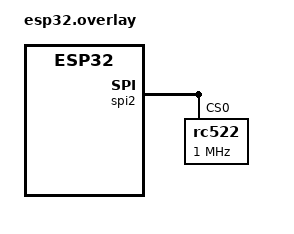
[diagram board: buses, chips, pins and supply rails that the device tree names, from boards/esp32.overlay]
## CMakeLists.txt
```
zephyr_syscall_header(${ZEPHYR_LIBOSTENTUS_MODULE_DIR}/include/rfid.h)

zephyr_library()
zephyr_include_directories(include)
zephyr_library_sources(rc522.c)
```

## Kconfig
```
menuconfig RFID
  bool "Radio Frequency stuff"
  default y
  depends on DT_HAS_NXP_RC522_ENABLED
  select SPI
  help
    Enable rfid chip so you can scan your cards

if RFID

config RC522_INIT_PRIORITY
  int "RC522 init priority"
  default 90
  help
    mfrc522 init priority.


config RC522_LOG_LEVEL
    int "Default log level for mfrc522"
    default 4
    help
        The default log level, which is used to filter log messages.
        0: None
        1: Error
        2: Warn
        3: Info
        4: Debug
        5: Verbose


endif # RFID
```

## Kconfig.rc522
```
config RC522
	bool "Enable RC522 Driver"
	default y
	select SPI
	help
		Enables the RC522 driver.
```

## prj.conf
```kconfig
CONFIG_RC522=y
```

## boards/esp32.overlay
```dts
&spi2 {
	rc522: rc522@0 {
		compatible = "rc522";
		reg = <0>;
		spi-max-frequency = <1000000>;
	};
};
```

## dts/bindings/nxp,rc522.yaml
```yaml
description: "NXP Semiconductors  MIFARE and NTAG frontend"

compatible: "nxp,rc522"

include: [spi-device.yaml]
```

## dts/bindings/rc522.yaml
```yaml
description: RFID-RC522 Device

compatible: "rc522"

include: spi-device.yaml
```

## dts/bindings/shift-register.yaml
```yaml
# Copyright (c) 2020 Nordic Semiconductor ASA
# SPDX-License-Identifier: Apache-2.0

description: Shift Register Device

compatible: "shift-register"

include: spi-device.yaml
```

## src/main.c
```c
#include <zephyr/kernel.h>
#include "drivers/rc522.h"
#include "fob.h"

static const struct spi_dt_spec rc522 = RC522_SPI_DT_SPEC_GET(DT_NODELABEL(rc522));

int main() {
	int ret;

	rc522_init(&rc522);

	while (1) {
		const uint8_t sector = 1;
		const uint8_t key[6] = {0xFF, 0xFF, 0xFF, 0xFF, 0xFF, 0xFF};
		const uint8_t new_key[6] = {0x00};
		uint8_t UID[5] = {0};

		while (1) {
			ret = rc522_reqa(&rc522);
			if (ret != STATUS_OK) {
				k_msleep(250);
				continue;
			}

			ret = fob_select(&rc522, UID);
			if (ret != STATUS_OK) {
				continue;
			}

			break;
		}

		fob_auth(&rc522, UID, sector, key);
		fob_write_key(&rc522, UID, sector, new_key);

		fob_auth(&rc522, UID, sector, new_key);
		fob_write_key(&rc522, UID, sector, key);


		const uint8_t passcode[6] = {0xAB};
		uint8_t passcode_read[6] = {0};

		fob_auth(&rc522, UID, sector, key);

		fob_read_passcode(&rc522, UID, sector, passcode_read);
		printf("0x%02X\n", passcode_read[0]);

		fob_write_passcode(&rc522, UID, sector, passcode);

		fob_read_passcode(&rc522, UID, sector, passcode_read);
		printf("0x%02X\n", passcode_read[0]);

		passcode_read[0] = 0x00;
		fob_write_passcode(&rc522, UID, sector, passcode_read);


		rc522_mifare_deauth(&rc522);

		k_msleep(1500);
	}

	return 0;
}
```

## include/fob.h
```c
#pragma once

#include "drivers/rc522.h"

int fob_select(const struct spi_dt_spec *rc522, uint8_t *UID);
int fob_auth(const struct spi_dt_spec *rc522, const uint8_t *UID, const uint8_t sector, const uint8_t *key);

/* Writes the new key to the designated sector. */
int fob_write_key(const struct spi_dt_spec *rc522, const uint8_t *UID, const uint8_t sector, const uint8_t *key);

/* Writes the passcode to the designated sector. */
int fob_write_passcode(const struct spi_dt_spec *rc522, const uint8_t *UID, const uint8_t sector, const uint8_t *passcode);

/* Reads the passcode from the designated sector into the passcode array. */
int fob_read_passcode(const struct spi_dt_spec *rc522, const uint8_t *UID, const uint8_t sector, uint8_t *passcode);
```

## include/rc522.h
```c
#ifndef __RC522_H_
#define __RC522_H_

#include <asm-generic/errno.h>
#include <stdint.h>
#include <zephyr/device.h>
#include <zephyr/drivers/spi.h>

struct rc522_config {
  struct spi_dt_spec spi;
};

typedef int (*rc522_cmd_t)(const struct device *dev);
typedef int (*rc522_read_t)(const struct device *dev, uint8_t *read_value);

__subsystem struct rc522_driver_api {
  rc522_read_t rc522_read_version;
  rc522_cmd_t rc522_test;
};

__syscall int rc522_read_version(const struct device *dev, uint8_t *read_value);

static inline int z_impl_rc522_read_version(const struct device *dev,
                                            uint8_t *read_value) {
  const struct rc522_driver_api *api =
      (const struct rc522_driver_api *)dev->api;
  if (api->rc522_read_version == NULL) {
    return -ENOSYS;
  }
  return api->rc522_read_version(dev, read_value);
}

__syscall int rc522_test(const struct device *dev);

static inline int z_imple_rc522_test(const struct device *dev) {
  const struct rc522_driver_api *api =
      (const struct rc522_driver_api *)dev->api;
  if (api->rc522_test == NULL) {
    return -ENOSYS;
  }
  return api->rc522_read_version(dev);
}

#include <syscalls/rc522.h>

#endif // !__RC522_H_
```

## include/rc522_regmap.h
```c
#pragma once

#include <zephyr/kernel.h>
#include <zephyr/drivers/spi.h>

#define RC522_SPI_DT_SPEC_GET(node_label) \
	SPI_DT_SPEC_GET( \
		node_label, \
		SPI_OP_MODE_MASTER | SPI_TRANSFER_MSB | SPI_WORD_SET(8) | SPI_LINES_SINGLE, \
		0 \
	)

// MFRC522 registers. Described in chapter 9 of the datasheet.
// When using SPI all addresses are shifted one bit left in the "SPI address byte" (section 8.1.2.3)
enum Register {
	// Page 0: Command and status
	//						  0x00			// reserved for future use
	CommandReg				= 0x01 << 1,	// starts and stops command execution
	ComIEnReg				= 0x02 << 1,	// enable and disable interrupt request control bits
	DivIEnReg				= 0x03 << 1,	// enable and disable interrupt request control bits
	ComIrqReg				= 0x04 << 1,	// interrupt request bits
	DivIrqReg				= 0x05 << 1,	// interrupt request bits
	ErrorReg				= 0x06 << 1,	// error bits showing the error status of the last command executed 
	Status1Reg				= 0x07 << 1,	// communication status bits
	Status2Reg				= 0x08 << 1,	// receiver and transmitter status bits
	FIFODataReg				= 0x09 << 1,	// input and output of 64 byte FIFO buffer
	FIFOLevelReg			= 0x0A << 1,	// number of bytes stored in the FIFO buffer
	WaterLevelReg			= 0x0B << 1,	// level for FIFO underflow and overflow warning
	ControlReg				= 0x0C << 1,	// miscellaneous control registers
	BitFramingReg			= 0x0D << 1,	// adjustments for bit-oriented frames
	CollReg					= 0x0E << 1,	// bit position of the first bit-collision detected on the RF interface
	//						  0x0F			// reserved for future use
	
	// Page 1: Command
	// 						  0x10			// reserved for future use
	ModeReg					= 0x11 << 1,	// defines general modes for transmitting and receiving 
	TxModeReg				= 0x12 << 1,	// defines transmission data rate and framing
	RxModeReg				= 0x13 << 1,	// defines reception data rate and framing
	TxControlReg			= 0x14 << 1,	// controls the logical behavior of the antenna driver pins TX1 and TX2
	TxASKReg				= 0x15 << 1,	// controls the setting of the transmission modulation
	TxSelReg				= 0x16 << 1,	// selects the internal sources for the antenna driver
	RxSelReg				= 0x17 << 1,	// selects internal receiver settings
	RxThresholdReg			= 0x18 << 1,	// selects thresholds for the bit decoder
	DemodReg				= 0x19 << 1,	// defines demodulator settings
	// 						  0x1A			// reserved for future use
	// 						  0x1B			// reserved for future use
	MfTxReg					= 0x1C << 1,	// controls some MIFARE communication transmit parameters
	MfRxReg					= 0x1D << 1,	// controls some MIFARE communication receive parameters
	// 						  0x1E			// reserved for future use
	SerialSpeedReg			= 0x1F << 1,	// selects the speed of the serial UART interface
	
	// Page 2: Configuration
	// 						  0x20			// reserved for future use
	CRCResultRegH			= 0x21 << 1,	// shows the MSB and LSB values of the CRC calculation
	CRCResultRegL			= 0x22 << 1,
	// 						  0x23			// reserved for future use
	ModWidthReg				= 0x24 << 1,	// controls the ModWidth setting?
	// 						  0x25			// reserved for future use
	RFCfgReg				= 0x26 << 1,	// configures the receiver gain
	GsNReg					= 0x27 << 1,	// selects the conductance of the antenna driver pins TX1 and TX2 for modulation 
	CWGsPReg				= 0x28 << 1,	// defines the conductance of the p-driver output during periods of no modulation
	ModGsPReg				= 0x29 << 1,	// defines the conductance of the p-driver output during periods of modulation
	TModeReg				= 0x2A << 1,	// defines settings for the internal timer
	TPrescalerReg			= 0x2B << 1,	// the lower 8 bits of the TPrescaler value. The 4 high bits are in TModeReg.
	TReloadRegH				= 0x2C << 1,	// defines the 16-bit timer reload value
	TReloadRegL				= 0x2D << 1,
	TCounterValueRegH		= 0x2E << 1,	// shows the 16-bit timer value
	TCounterValueRegL		= 0x2F << 1,
	
	// Page 3: Test Registers
	// 						  0x30			// reserved for future use
	TestSel1Reg				= 0x31 << 1,	// general test signal configuration
	TestSel2Reg				= 0x32 << 1,	// general test signal configuration
	TestPinEnReg			= 0x33 << 1,	// enables pin output driver on pins D1 to D7
	TestPinValueReg			= 0x34 << 1,	// defines the values for D1 to D7 when it is used as an I/O bus
	TestBusReg				= 0x35 << 1,	// shows the status of the internal test bus
	AutoTestReg				= 0x36 << 1,	// controls the digital self-test
	VersionReg				= 0x37 << 1,	// shows the software version
	AnalogTestReg			= 0x38 << 1,	// controls the pins AUX1 and AUX2
	TestDAC1Reg				= 0x39 << 1,	// defines the test value for TestDAC1
	TestDAC2Reg				= 0x3A << 1,	// defines the test value for TestDAC2
	TestADCReg				= 0x3B << 1		// shows the value of ADC I and Q channels
	// 						  0x3C			// reserved for production tests
	// 						  0x3D			// reserved for production tests
	// 						  0x3E			// reserved for production tests
	// 						  0x3F			// reserved for production tests
};
	
// MFRC522 commands. Described in chapter 10 of the datasheet.
enum PCD_Command {
	PCD_Idle				= 0x00,		// no action, cancels current command execution
	PCD_Mem					= 0x01,		// stores 25 bytes into the internal buffer
	PCD_GenerateRandomID	= 0x02,		// generates a 10-byte random ID number
	PCD_CalcCRC				= 0x03,		// activates the CRC coprocessor or performs a self-test
	PCD_Transmit			= 0x04,		// transmits data from the FIFO buffer
	PCD_NoCmdChange			= 0x07,		// no command change, can be used to modify the CommandReg register bits without affecting the command, for example, the PowerDown bit
	PCD_Receive				= 0x08,		// activates the receiver circuits
	PCD_Transceive 			= 0x0C,		// transmits data from FIFO buffer to antenna and automatically activates the receiver after transmission
	PCD_MFAuthent 			= 0x0E,		// performs the MIFARE standard authentication as a reader
	PCD_SoftReset			= 0x0F		// resets the MFRC522
};

// Commands sent to the PICC.
enum PICC_Command {
	// The commands used by the PCD to manage communication with several PICCs (ISO 14443-3, Type A, section 6.4)
	PICC_CMD_REQA			= 0x26,		// REQuest command, Type A. Invites PICCs in state IDLE to go to READY and prepare for anticollision or selection. 7 bit frame.
	PICC_CMD_WUPA			= 0x52,		// Wake-UP command, Type A. Invites PICCs in state IDLE and HALT to go to READY(*) and prepare for anticollision or selection. 7 bit frame.
	PICC_CMD_CT				= 0x88,		// Cascade Tag. Not really a command, but used during anti collision.
	PICC_CMD_SEL_CL1		= 0x93,		// Anti collision/Select, Cascade Level 1
	PICC_CMD_SEL_CL2		= 0x95,		// Anti collision/Select, Cascade Level 2
	PICC_CMD_SEL_CL3		= 0x97,		// Anti collision/Select, Cascade Level 3
	PICC_CMD_HLTA			= 0x50,		// HaLT command, Type A. Instructs an ACTIVE PICC to go to state HALT.
	PICC_CMD_RATS           = 0xE0,     // Request command for Answer To Reset.
	// The commands used for MIFARE Classic (from http://www.mouser.com/ds/2/302/MF1S503x-89574.pdf, Section 9)
	// Use PCD_MFAuthent to authenticate access to a sector, then use these commands to read/write/modify the blocks on the sector.
	// The read/write commands can also be used for MIFARE Ultralight.
	PICC_CMD_MF_AUTH_KEY_A	= 0x60,		// Perform authentication with Key A
	PICC_CMD_MF_AUTH_KEY_B	= 0x61,		// Perform authentication with Key B
	PICC_CMD_MF_READ		= 0x30,		// Reads one 16 byte block from the authenticated sector of the PICC. Also used for MIFARE Ultralight.
	PICC_CMD_MF_WRITE		= 0xA0,		// Writes one 16 byte block to the authenticated sector of the PICC. Called "COMPATIBILITY WRITE" for MIFARE Ultralight.
	PICC_CMD_MF_DECREMENT	= 0xC0,		// Decrements the contents of a block and stores the result in the internal data register.
	PICC_CMD_MF_INCREMENT	= 0xC1,		// Increments the contents of a block and stores the result in the internal data register.
	PICC_CMD_MF_RESTORE		= 0xC2,		// Reads the contents of a block into the internal data register.
	PICC_CMD_MF_TRANSFER	= 0xB0,		// Writes the contents of the internal data register to a block.
	// The commands used for MIFARE Ultralight (from http://www.nxp.com/documents/data_sheet/MF0ICU1.pdf, Section 8.6)
	// The PICC_CMD_MF_READ and PICC_CMD_MF_WRITE can also be used for MIFARE Ultralight.
	PICC_CMD_UL_WRITE		= 0xA2		// Writes one 4 byte page to the PICC.
};

// Return codes from the functions in this class. Remember to update GetStatusCodeName() if you add more.
// last value set to 0xff, then compiler uses less ram, it seems some optimisations are triggered
enum Status_Code {
	STATUS_OK				,	// Success
	STATUS_ERROR			,	// Error in communication
	STATUS_COLLISION		,	// Collission detected
	STATUS_TIMEOUT			,	// Timeout in communication.
	STATUS_NO_ROOM			,	// A buffer is not big enough.
	STATUS_INTERNAL_ERROR	,	// Internal error in the code. Should not happen ;-)
	STATUS_INVALID			,	// Invalid argument.
	STATUS_CRC_WRONG		,	// The CRC_A does not match
	STATUS_MIFARE_NACK		= 0xff	// A MIFARE PICC responded with NAK.
};

// MIFARE constants that does not fit anywhere else
enum MIFARE_Misc {
	MF_ACK					= 0xA,		// The MIFARE Classic uses a 4 bit ACK/NAK. Any other value than 0xA is NAK.
	MF_KEY_SIZE				= 6			// A Mifare Crypto1 key is 6 bytes.
};

struct communicate_argument {
	uint8_t command; // Required.
	uint8_t wait_irq; // Required.
	uint8_t *transmit_data; // Required.
	uint8_t transmit_len; // Required.
	uint8_t *receive_data; // Default NULL.
	uint8_t receive_len; // Default 0.
	uint8_t valid_bits; // Default 0.
	uint8_t rx_align; // Default 0.
	int check_CRC; // Default false (0).
};

/* Runs standard test procedure to confirm working SPI communication with RC522
 * and ability to run commands, run CRC coprocessor, etc. Prints 64 bytes of
 * standard test data which can be cross referenced. Does not use antenna. */
int rc522_test(const struct spi_dt_spec *rc522);

// /* Ensures default settings for CRC, timer, baud rate, etc. Turns on antenna. */
// int rc522_init(const struct spi_dt_spec *rc522);

/* Sends a REQA to all nearby tags. */
int rc522_reqa(const struct spi_dt_spec *rc522);

/* Sends a Select to all nearby tags. Does NOT implement anticollision and just
 * stores the 5 byte response in UID when UID_valid is false. When UID_valid is
 * true, selects the tag with the matching UID and stores the 1 byte response
 * in sak if it is not NULL. */
int rc522_select(const struct spi_dt_spec *rc522, uint8_t *UID, const uint8_t UID_valid, uint8_t *sak);

/* Sends a MIFARE authentication command to the selected tag with the
 * corresponding UID. If the key matches the key for the sector that block_addr
 * falls under, this function will grant access to that sector. */
int rc522_mifare_auth(const struct spi_dt_spec *rc522, const uint8_t block_addr, const uint8_t *key, const uint8_t *UID);

/* Does NOT send any commands to any tag. Instead, this function disables
 * encryption so that non-MIFARE functions can once again be used. */
int rc522_mifare_deauth(const struct spi_dt_spec *rc522);

/* Assuming authentication has been granted, this function will read the 16
 * data bytes and 2 CRC bytes of the block located at block_addr into the
 * read_values array; length >= 18 required. The length variable will be
 * updated with the length of the actual response if it is shorter for some
 * reason. */
int rc522_mifare_read(const struct spi_dt_spec *rc522, const uint8_t block_addr, uint8_t *length, uint8_t *read_values);

/* Assuming authentication has been granted, this function will write the 16
 * data bytes from the data array into the block located at block_addr. The
 * length variable MUST be 16. */
int rc522_mifare_write(	const struct spi_dt_spec *rc522, const uint8_t block_addr, const uint8_t length, const uint8_t *data);
```

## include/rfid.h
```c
#ifndef __ZEPHYR_INCLUDE_DRIVERS__RFDI_H__
#define __ZEPHYR_INCLUDE_DRIVERS__RFDI_H__

#include <errno.h>

#include <zephyr/device.h>
#include <zephyr/types.h>

#ifdef __cplusplus
extern "C" {
#endif

typedef int (*rfid_cmd_t)(const struct device *dev);
typedef int (*rfid_fob_select_t)(const struct device *dev, uint8_t *uid,
                                 const uint8_t UID_valid, uint8_t *sak);
typedef int (*rfid_fob_auth_t)(const struct device *dev,
                               const uint8_t block_addr, const uint8_t *key,
                               const uint8_t *UID);
typedef int (*rfid_fob_read_t)(const struct device *dev,
                               const uint8_t block_addr, uint8_t *length,
                               uint8_t *read_values);
typedef int (*rfid_fob_write_t)(const struct device *dev,
                                const uint8_t block_addr, const uint8_t length,
                                const uint8_t *data);

__subsystem struct rfid_driver_api {
  rfid_cmd_t hw_test;
  rfid_cmd_t fob_reqa;
  rfid_fob_select_t fob_select;
  //rfid_fob_auth_t fob_auth;
  // rfid_cmd_t deauth;
  // rfid_fob_read_t fob_read;
  // rfid_fob_write_t fob_write;
};

/* Runs standard test procedure to confirm working SPI communication with RC522
 * and ability to run commands, run CRC coprocessor, etc. Prints 64 bytes of
 * standard test data which can be cross referenced. Does not use antenna. */
__syscall int hw_test(const struct device *dev);

static inline int z_impl_hw_test(const struct device *dev) {
  const struct rfid_driver_api *api = (const struct rfid_driver_api *)dev->api;
  if (api->hw_test == NULL) {
    return -ENOSYS;
  }
  return api->hw_test(dev);
}

/* Sends a REQA to all nearby fobs. */
__syscall int fob_reqa(const struct device *dev);

static inline int z_impl_fob_reqa(const struct device *dev) {
  const struct rfid_driver_api *api = (const struct rfid_driver_api *)dev->api;
  if (api->fob_reqa == NULL) {
    return -ENOSYS;
  }
  return api->fob_reqa(dev);
}

/* Sends a Select to all nearby tags. Does NOT implement anticollision and just
 * stores the 5 byte response in UID when UID_valid is false. When UID_valid is
 * true, selects the tag with the matching UID and stores the 1 byte response
 * in sak if it is not NULL. */
__syscall int fob_select(const struct device *dev, uint8_t *uid,
                         const uint8_t UID_valid, uint8_t *sak);

static inline int z_impl_fob_select(const struct device *dev, uint8_t *uid,
                                    const uint8_t UID_valid, uint8_t *sak) {
  const struct rfid_driver_api *api = (const struct rfid_driver_api *)dev->api;
  if (api->fob_select == NULL) {
    return -ENOSYS;
  }
  return api->fob_select(dev, uid, UID_valid, sak);
}

// /* Sends a MIFARE authentication command to the selected tag with the
//  * corresponding UID. If the key matches the key for the sector that
//  block_addr
//  * falls under, this function will grant access to that sector. */
// int fob_auth(const struct spi_dt_spec *dev, const uint8_t block_addr,
//              const uint8_t *key, const uint8_t *UID);
//
// /* Does NOT send any commands to any tag. Instead, this function disables
//  * encryption so that non-MIFARE functions can once again be used. */
// int deauth(const struct spi_dt_spec *dev);
//
// /* Assuming authentication has been granted, this function will read the 16
//  * data bytes and 2 CRC bytes of the block located at block_addr into the
//  * read_values array; length >= 18 required. The length variable will be
//  * updated with the length of the actual response if it is shorter for some
//  * reason. */
// int fob_read(const struct spi_dt_spec *dev, const uint8_t block_addr,
//              uint8_t *length, uint8_t *read_values);
//
// /* Assuming authentication has been granted, this function will write the 16
//  * data bytes from the data array into the block located at block_addr. The
//  * length variable MUST be 16. */
// int fob_write(const struct spi_dt_spec *dev, const uint8_t block_addr,
//               const uint8_t length, const uint8_t *data);
//
#include <zephyr/syscalls/rfid.h>

#ifdef __cplusplus
}
#endif

#endif // !__ZEPHYR_INCLUDE_DRIVERS__RFDI_H__
```

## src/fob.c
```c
#include "fob.h"

int fob_select(const struct spi_dt_spec *rc522, uint8_t *UID) {
	int ret;
	ret = rc522_select(rc522, UID, 0, NULL);
	if (ret != STATUS_OK) {
		return ret;
	}
	return rc522_select(rc522, UID, 1, NULL);
}

int fob_auth(const struct spi_dt_spec *rc522, const uint8_t *UID, const uint8_t sector, const uint8_t *key) {
	uint8_t block_addr = 4 * sector + 3;
	return rc522_mifare_auth(rc522, block_addr, key, UID);
}

int fob_write_key(const struct spi_dt_spec *rc522, const uint8_t *UID, const uint8_t sector, const uint8_t *key) {
	int ret;

	uint8_t block_addr = 4 * sector + 3;

	uint8_t length = 18;
	uint8_t read_values[18] = {0};
	ret = rc522_mifare_read(rc522, block_addr, &length, read_values);
	if (ret != STATUS_OK) {
		return ret;
	}

	memcpy(read_values, key, 6);
	memcpy(read_values+10, key, 6);

	ret = rc522_mifare_write(rc522, block_addr, 16, read_values);
	if (ret != STATUS_OK) {
		return ret;
	}

	return STATUS_OK;
}

int fob_write_passcode(const struct spi_dt_spec *rc522, const uint8_t *UID, const uint8_t sector, const uint8_t *passcode) {
	int ret;

	uint8_t block_addr = 4 * sector + 2;

	uint8_t write_values[16] = {0};
	memcpy(write_values, passcode, 6);

	ret = rc522_mifare_write(rc522, block_addr, 16, write_values);
	if (ret != STATUS_OK) {
		return ret;
	}
	
	return STATUS_OK;
}

int fob_read_passcode(const struct spi_dt_spec *rc522, const uint8_t *UID, const uint8_t sector, uint8_t *passcode) {
	int ret;

	uint8_t block_addr = 4 * sector + 2;

	uint8_t length = 18;
	uint8_t read_values[18] = {0};
	ret = rc522_mifare_read(rc522, block_addr, &length, read_values);
	if (ret != STATUS_OK) {
		return ret;
	}

	memcpy(passcode, read_values, 6);
	
	return STATUS_OK;
}
```
